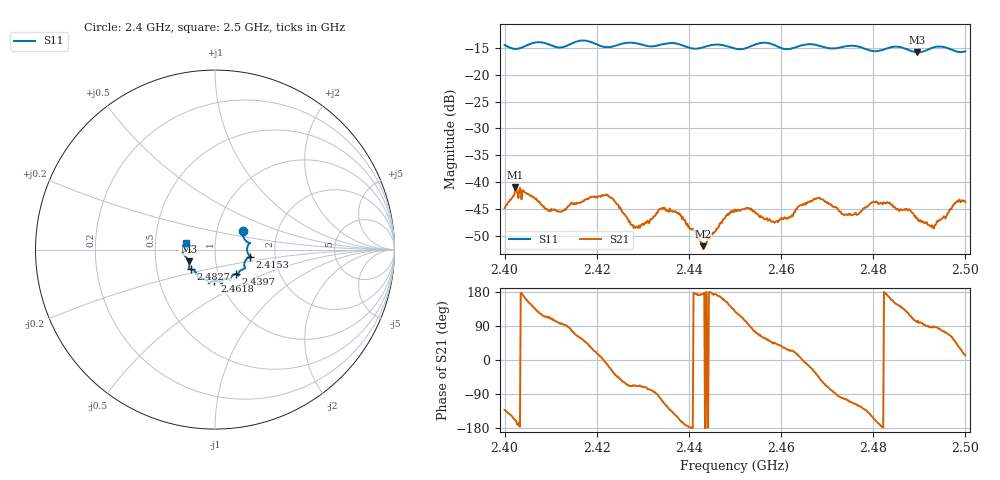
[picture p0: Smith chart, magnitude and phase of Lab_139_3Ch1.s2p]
# Hz S RI R 50
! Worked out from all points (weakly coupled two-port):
!   601 points, 2.4 GHz to 2.5 GHz, reference 50 ohm
!   highest |S21| = -40.91 dB at 2.4023 GHz (marker M1); lowest = -51.9 dB at 2.443 GHz (marker M2)
!   lowest |S11| = -15.9 dB at 2.4895 GHz (marker M3), VSWR 1.38, Z = 36.9 - j5.02 ohm
!   |S11| at or under -10 dB: start of sweep to end of sweep
!   S12 and S22 are empty: the file has one direction only
!   S11 on the Smith chart (normalised r, x): 2.4 GHz: 1.33, +0.29; 2.4153 GHz: 1.48, -0.12; 2.4397 GHz: 1.21, -0.34; 2.4618 GHz: 0.94, -0.33; 2.4827 GHz: 0.75, -0.17; 2.5 GHz: 0.72, +0.06
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2.4e9  0.1548 0.1063  -0.00384 -0.00427  0 0  0 0
2.402333e9  0.1587 0.0689  -0.00841 -0.00322  0 0  0 0
2.4095e9  0.1887 0.0315  -0.00192 0.00509  0 0  0 0
2.415333e9  0.1965 -0.0391  0.00238 0.00584  0 0  0 0
2.416667e9  0.2025 -0.0432  0.00368 0.00543  0 0  0 0
2.4225e9  0.165 -0.0703  0.00727 -0.00206  0 0  0 0
2.4285e9  0.1649 -0.105  0.00145 -0.00356  0 0  0 0
2.433333e9  0.1301 -0.1341  -0.000337 -0.00545  0 0  0 0
2.437167e9  0.1314 -0.1434  -0.00442 -0.00287  0 0  0 0
2.439667e9  0.1168 -0.1363  -0.00409 -0.000452  0 0  0 0
2.443e9  0.0883 -0.155  -0.00254 0.000281  0 0  0 0
2.45e9  0.0651 -0.1617  -0.00346 0.00438  0 0  0 0
2.453e9  0.0383 -0.1757  -0.000193 0.00576  0 0  0 0
2.458333e9  0.0355 -0.1861  0.00312 0.003  0 0  0 0
2.461833e9  -0.00325 -0.1727  0.0043 0.00214  0 0  0 0
2.466667e9  -0.0346 -0.1879  0.00611 -0.00262  0 0  0 0
2.474e9  -0.0886 -0.1602  -0.00112 -0.00491  0 0  0 0
2.482667e9  -0.135 -0.1089  -0.00634 0.000338  0 0  0 0
2.483333e9  -0.1401 -0.1086  -0.00626 0.00139  0 0  0 0
2.4895e9  -0.1463 -0.0662  -0.000828 0.00459  0 0  0 0
2.493e9  -0.1762 -0.0265  0.000271 0.0039  0 0  0 0
2.5e9  -0.1599 0.039  0.00642 0.00141  0 0  0 0
